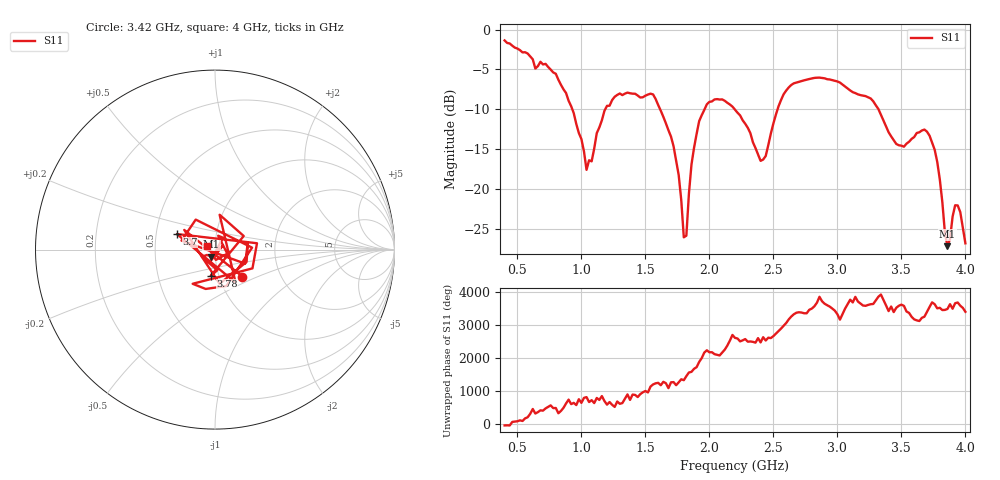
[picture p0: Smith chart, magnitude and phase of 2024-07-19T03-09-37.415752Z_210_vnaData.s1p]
!Created with skrf (http://scikit-rf.org).
# Hz S RI R 50.0
!freq ReS11 ImS11
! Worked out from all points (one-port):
!   181 points, 400 MHz to 4 GHz, reference 50 ohm
!   lowest |S11| = -27.1 dB at 3.86 GHz (marker M1), VSWR 1.09, Z = 47.8 - j3.74 ohm
!   |S11| at or under -10 dB: 1.616 GHz to 1.962 GHz (346.1 MHz wide, 19.4 % of centre); 2.199 GHz to 2.532 GHz (333.5 MHz wide, 14.1 % of centre); 3.322 GHz to end of sweep (the widest 3 of 4)
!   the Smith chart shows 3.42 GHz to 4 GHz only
!   S11 on the Smith chart (normalised r, x): 3.42 GHz: 1.29, -0.41; 3.7 GHz: 0.64, +0.12; 3.78 GHz: 0.91, -0.27; 4 GHz: 0.92, +0.03
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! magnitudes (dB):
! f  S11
! 400 MHz  -1.4
! 860 MHz  -7.5
! 1 GHz  -13.7
! 1.04 GHz  -17.6
! 1.18 GHz  -10.2
! 1.3 GHz  -8.0
! 1.56 GHz  -8.1
! 1.7 GHz  -13.4
! 1.76 GHz  -18.2
! 1.8 GHz  -26.0
! 1.82 GHz  -25.8
! 1.86 GHz  -16.9
! 1.92 GHz  -11.5
! 2.04 GHz  -8.7
! 2.2 GHz  -10.0
! 2.4 GHz  -16.4
! 2.56 GHz  -8.8
! 2.66 GHz  -6.7
! 3.1 GHz  -7.6
! 3.28 GHz  -9.0
! 3.42 GHz  -13.4
! 3.56 GHz  -14.0
! 3.7 GHz  -12.8
! 3.78 GHz  -16.6
! 3.86 GHz  -27.1
! 3.92 GHz  -22.0
! 3.96 GHz  -22.8
! 4 GHz  -26.8
